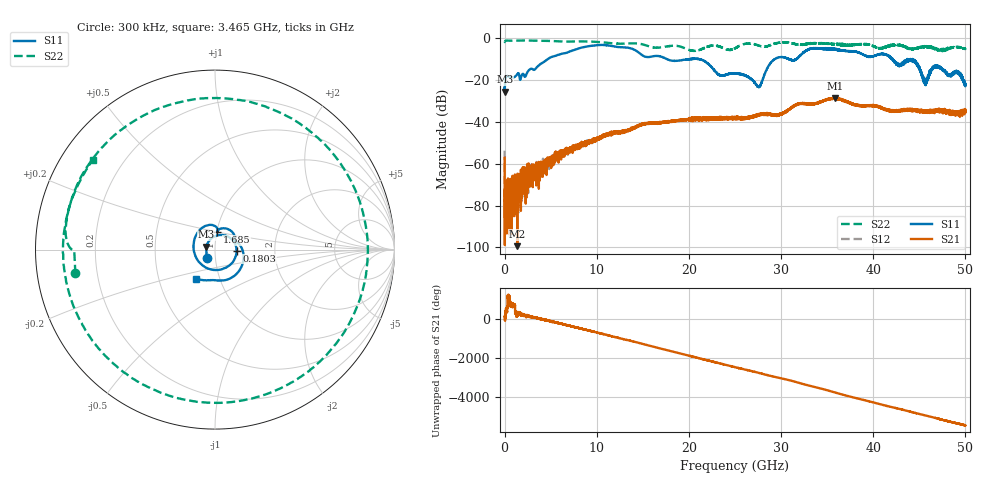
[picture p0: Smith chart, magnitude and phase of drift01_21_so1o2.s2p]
!Created with skrf (http://scikit-rf.org).
# Hz S RI R 50.0
!freq ReS11 ImS11 ReS21 ImS21 ReS12 ImS12 ReS22 ImS22
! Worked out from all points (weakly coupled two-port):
!   10001 points, 300 kHz to 50 GHz, reference 50 ohm
!   highest |S21| = -28.75 dB at 35.83 GHz (marker M1); lowest = -99.4 dB at 1.375 GHz (marker M2)
!   lowest |S11| = -25.8 dB at 5.3 MHz (marker M3), VSWR 1.11, Z = 45.3 + j1.4 ohm
!   |S11| at or under -10 dB: start of sweep to 4.766 GHz; 17.5 GHz to 29.41 GHz (11.91 GHz wide, 50.8 % of centre); 42.08 GHz to end of sweep (the widest 3 of 7)
!   |S22| runs from -6.5 to -1.4 dB; largest |S21 - S12| = 0.0045
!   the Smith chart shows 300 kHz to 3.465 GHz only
!   S11 on the Smith chart (normalised r, x): 300 kHz: 0.91, -0.08; 180.3 MHz: 1.27, -0.01; 1.685 GHz: 1.00, +0.20; 3.465 GHz: 0.77, -0.26
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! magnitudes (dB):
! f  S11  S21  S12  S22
! 300 kHz  -23.9  -57.3  -53.9  -2.1
! 5.3 MHz  -25.8  -81.5  -74.2  -2.1
! 180.3 MHz  -18.4  -70.3  -86.8  -1.4
! 260.3 MHz  -18.3  -85.2  -72.3  -1.4
! 1.375 GHz  -17.5  -99.4  -70.8  -1.4
! 1.685 GHz  -20.1  -71.2  -70.4  -1.4
! 3.465 GHz  -14.3  -62.7  -65.2  -1.5
! 8.335 GHz  -4.8  -51.9  -51.5  -1.8
! 16.67 GHz  -8.7  -40.6  -40.6  -4.8
! 25 GHz  -17.0  -38.0  -38.0  -5.1
! 27.58 GHz  -23.5  -37.0  -36.8  -3.8
! 29.29 GHz  -10.3  -37.2  -36.9  -2.9
! 31.45 GHz  -10.8  -32.5  -32.4  -3.0
! 33.34 GHz  -5.2  -31.7  -31.5  -2.6
! 35.83 GHz  -5.5  -28.8  -28.9  -3.3
! 41.67 GHz  -8.8  -34.5  -34.9  -4.1
! 42.74 GHz  -12.8  -35.1  -34.9  -3.3
! 44.4 GHz  -11.1  -34.4  -34.6  -5.3
! 45.64 GHz  -20.2  -35.5  -35.1  -4.3
! 46.9 GHz  -13.7  -34.8  -35.2  -5.4
! 49.26 GHz  -16.6  -35.2  -36.1  -4.6
! 50 GHz  -22.4  -34.5  -34.6  -5.3
